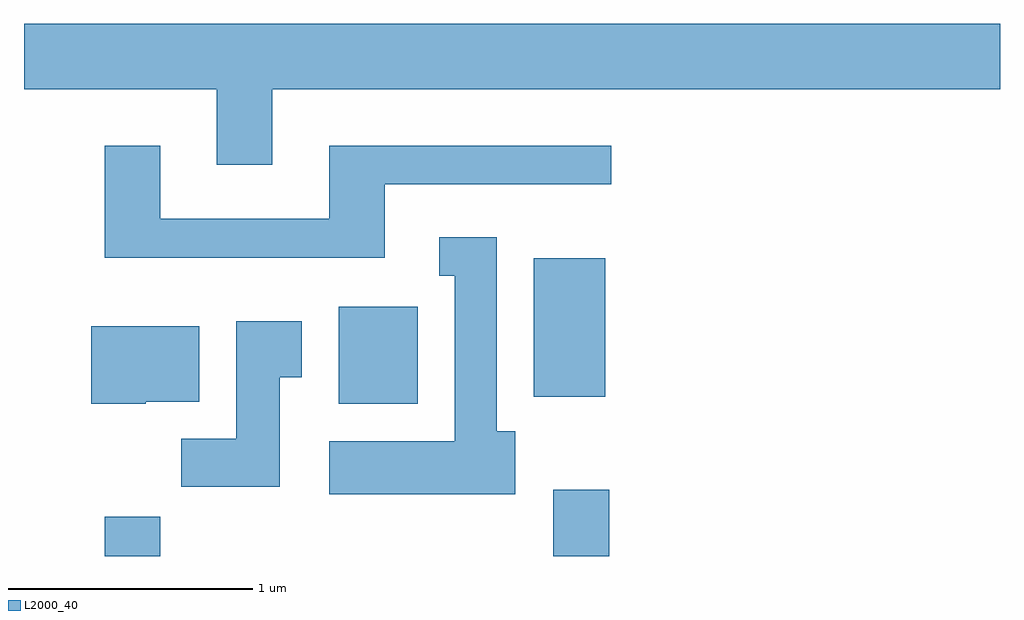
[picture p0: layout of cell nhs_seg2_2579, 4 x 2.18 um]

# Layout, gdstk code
import gdstk
lib = gdstk.Library(unit=1e-6, precision=1e-09)
def R(c, l, rs):  # rectangles x0, y0, x1, y1
    for r in rs: c.add(gdstk.rectangle(r[:2], r[2:], *l))
def P(c, l, *ps):  # polygons
    for p in ps: c.add(gdstk.Polygon(p, *l))
L2000_40 = (2000, 40)

nhs_seg2_2579 = lib.new_cell('nhs_seg2_2579')
R(nhs_seg2_2579, L2000_40, [(261.941,979.802,262.169,979.964), (263.781,979.802,264.009,980.074), (262.901,980.426,263.224,980.824), (263.701,980.456,263.994,981.024)])
P(nhs_seg2_2579, L2000_40, [(262.629,981.716),(265.611,981.716),(265.611,981.984),(261.611,981.984),(261.611,981.716),(262.401,981.716),(262.401,981.406),(262.629,981.406)],
  [(263.089,981.326),(264.018,981.326),(264.018,981.484),(262.861,981.484),(262.861,981.184),(262.169,981.184),(262.169,981.484),(261.941,981.484),(261.941,981.026),(263.089,981.026)],
  [(263.624,980.314),(263.549,980.314),(263.549,981.109),(263.313,981.109),(263.313,980.951),(263.376,980.951),(263.376,980.274),(262.861,980.274),(262.861,980.056),(263.624,980.056)],
  [(262.659,980.536),(262.749,980.536),(262.749,980.764),(262.481,980.764),(262.481,980.284),(262.256,980.284),(262.256,980.086),(262.659,980.086)],
  [(262.11,980.436),(262.329,980.436),(262.329,980.744),(261.886,980.744),(261.886,980.426),(262.11,980.426)])

lib.write_gds('nhs_seg2_2579.gds')
